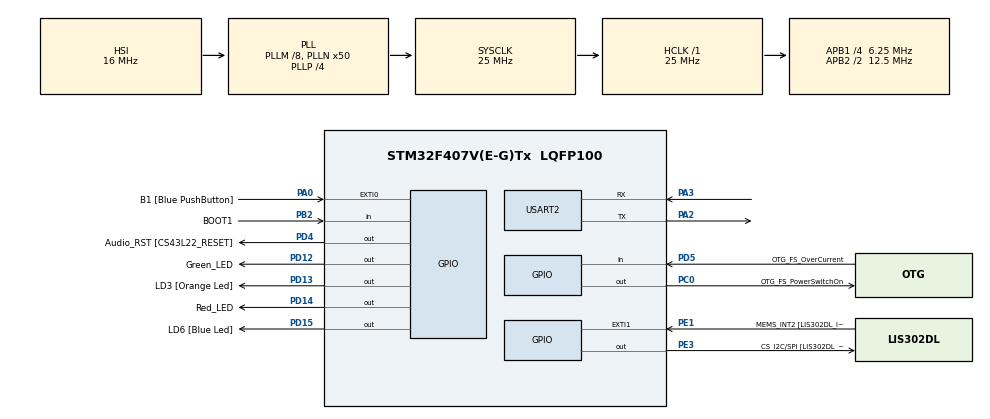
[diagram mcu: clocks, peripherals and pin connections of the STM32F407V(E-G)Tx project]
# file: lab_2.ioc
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Mcu.Family=STM32F4
Mcu.Name=STM32F407V(E-G)Tx
Mcu.Package=LQFP100
NVIC.PriorityGroup=NVIC_PRIORITYGROUP_4
NVIC.TIM7_IRQn=true\:15\:0\:false\:false\:true\:false\:true\:true
NVIC.TimeBase=TIM7_IRQn
NVIC.TimeBaseIP=TIM7
PA0-WKUP.GPIO_Label=B1 [Blue PushButton]
PA0-WKUP.Signal=GPXTI0
PA10.GPIO_Label=OTG_FS_ID
PA10.GPIO_Mode=GPIO_MODE_AF_PP
PA10.GPIO_PuPd=GPIO_NOPULL
PA10.GPIO_Speed=GPIO_SPEED_FREQ_LOW
PA10.Signal=USB_OTG_FS_ID
PA11.GPIO_Label=OTG_FS_DM
PA11.GPIO_Mode=GPIO_MODE_AF_PP
PA11.GPIO_PuPd=GPIO_NOPULL
PA11.GPIO_Speed=GPIO_SPEED_FREQ_LOW
PA11.Signal=USB_OTG_FS_DM
PA12.GPIO_Label=OTG_FS_DP
PA12.GPIO_Mode=GPIO_MODE_AF_PP
PA12.GPIO_PuPd=GPIO_NOPULL
PA12.GPIO_Speed=GPIO_SPEED_FREQ_LOW
PA12.Signal=USB_OTG_FS_DP
PA13.GPIO_Label=SWDIO
PA13.Mode=Serial_Wire
PA13.Signal=SYS_JTMS-SWDIO
PA14.GPIO_Label=SWCLK
PA14.Mode=Serial_Wire
PA14.Signal=SYS_JTCK-SWCLK
PA2.Mode=Asynchronous
PA2.Signal=USART2_TX
PA3.Mode=Asynchronous
PA3.Signal=USART2_RX
PA4.GPIO_Label=I2S3_WS [CS43L22_LRCK]
PA4.GPIO_Mode=GPIO_MODE_AF_PP
PA4.GPIO_PuPd=GPIO_NOPULL
PA4.GPIO_Speed=GPIO_SPEED_FREQ_LOW
PA4.Signal=I2S3_WS
PA5.GPIO_Label=SPI1_SCK [LIS302DL_SCL/SPC]
PA5.GPIO_Mode=GPIO_MODE_AF_PP
PA5.GPIO_PuPd=GPIO_NOPULL
PA5.GPIO_Speed=GPIO_SPEED_FREQ_LOW
PA5.Signal=SPI1_SCK
PA6.GPIO_Label=SPI1_MISO [LIS302DL_SDO]
PA6.GPIO_Mode=GPIO_MODE_AF_PP
PA6.GPIO_PuPd=GPIO_NOPULL
PA6.GPIO_Speed=GPIO_SPEED_FREQ_LOW
PA6.Signal=SPI1_MISO
PA7.GPIO_Label=SPI1_MOSI [LIS302DL_SDA/SDI/SDO]
PA7.GPIO_Mode=GPIO_MODE_AF_PP
PA7.GPIO_PuPd=GPIO_NOPULL
PA7.GPIO_Speed=GPIO_SPEED_FREQ_LOW
PA7.Signal=SPI1_MOSI
PA9.GPIO_Label=VBUS_FS
PA9.GPIO_Mode=GPIO_MODE_INPUT
PA9.GPIO_PuPd=GPIO_NOPULL
PA9.Signal=USB_OTG_FS_VBUS
PB10.GPIO_Label=CLK_IN [MP45DT02_CLK]
PB10.GPIO_Mode=GPIO_MODE_AF_PP
PB10.GPIO_PuPd=GPIO_NOPULL
PB10.GPIO_Speed=GPIO_SPEED_FREQ_LOW
PB10.Signal=I2S2_CK
PB2.GPIO_Label=BOOT1
PB2.GPIO_Mode=GPIO_MODE_INPUT
PB2.GPIO_PuPd=GPIO_NOPULL
PB2.Signal=GPIO_Input
PB3.GPIO_Label=SWO
PB3.Signal=SYS_JTDO-SWO
PB6.GPIO_Label=Audio_SCL [CS43L22_SCL]
PB6.GPIO_Mode=GPIO_MODE_AF_OD
PB6.GPIO_PuPd=GPIO_NOPULL
PB6.GPIO_Speed=GPIO_SPEED_FREQ_LOW
PB6.Signal=I2C1_SCL
PB9.GPIO_Label=Audio_SDA [CS43L22_SDA]
PB9.GPIO_Mode=GPIO_MODE_AF_OD
PB9.GPIO_PuPd=GPIO_NOPULL
PB9.GPIO_Speed=GPIO_SPEED_FREQ_LOW
PB9.Signal=I2C1_SDA
PC0.GPIO_Label=OTG_FS_PowerSwitchOn
PC0.GPIO_PuPd=GPIO_NOPULL
PC0.GPIO_Speed=GPIO_SPEED_FREQ_LOW
PC0.PinState=GPIO_PIN_SET
PC0.Signal=GPIO_Output
PC10.GPIO_Label=I2S3_SCK [CS43L22_SCLK]
PC10.GPIO_Mode=GPIO_MODE_AF_PP
PC10.GPIO_PuPd=GPIO_NOPULL
PC10.GPIO_Speed=GPIO_SPEED_FREQ_LOW
PC10.Signal=I2S3_CK
PC12.GPIO_Label=I2S3_SD [CS43L22_SDIN]
PC12.GPIO_Mode=GPIO_MODE_AF_PP
PC12.GPIO_PuPd=GPIO_NOPULL
PC12.GPIO_Speed=GPIO_SPEED_FREQ_LOW
PC12.Signal=I2S3_SD
PC14-OSC32_IN.GPIO_Label=PC14-OSC32_IN
PC14-OSC32_IN.Signal=RCC_OSC32_IN
PC15-OSC32_OUT.GPIO_Label=PC15-OSC32_OUT
PC15-OSC32_OUT.Signal=RCC_OSC32_OUT
PC3.GPIO_Label=PDM_OUT [MP45DT02_DOUT]
PC3.GPIO_Mode=GPIO_MODE_AF_PP
PC3.GPIO_PuPd=GPIO_NOPULL
PC3.GPIO_Speed=GPIO_SPEED_FREQ_LOW
PC3.Signal=I2S2_SD
PC7.GPIO_Label=I2S3_MCK [CS43L22_MCLK]
PC7.GPIO_Mode=GPIO_MODE_AF_PP
PC7.GPIO_PuPd=GPIO_NOPULL
PC7.GPIO_Speed=GPIO_SPEED_FREQ_LOW
PC7.Signal=I2S3_MCK
PD12.GPIO_Label=Green_LED
PD12.GPIO_PuPd=GPIO_NOPULL
PD12.GPIO_Speed=GPIO_SPEED_FREQ_LOW
PD12.Signal=GPIO_Output
PD13.GPIO_Label=LD3 [Orange Led]
PD13.GPIO_PuPd=GPIO_NOPULL
PD13.GPIO_Speed=GPIO_SPEED_FREQ_LOW
PD13.Signal=GPIO_Output
PD14.GPIO_Label=Red_LED
PD14.Signal=GPIO_Output
PD15.GPIO_Label=LD6 [Blue Led]
PD15.GPIO_PuPd=GPIO_NOPULL
PD15.GPIO_Speed=GPIO_SPEED_FREQ_LOW
PD15.Signal=GPIO_Output
PD4.GPIO_Label=Audio_RST [CS43L22_RESET]
PD4.GPIO_PuPd=GPIO_NOPULL
PD4.GPIO_Speed=GPIO_SPEED_FREQ_LOW
PD4.Signal=GPIO_Output
PD5.GPIO_Label=OTG_FS_OverCurrent
PD5.GPIO_Mode=GPIO_MODE_INPUT
PD5.GPIO_PuPd=GPIO_NOPULL
PD5.Signal=GPIO_Input
PE1.GPIO_Label=MEMS_INT2 [LIS302DL_INT2]
PE1.GPIO_ModeDefaultEXTI=GPIO_MODE_EVT_RISING
PE1.GPIO_PuPd=GPIO_NOPULL
PE1.Signal=GPXTI1
PE3.GPIO_Label=CS_I2C/SPI [LIS302DL_CS_I2C/SPI]
PE3.GPIO_PuPd=GPIO_NOPULL
PE3.GPIO_Speed=GPIO_SPEED_FREQ_LOW
PE3.Signal=GPIO_Output
PH0-OSC_IN.GPIO_Label=PH0-OSC_IN
PH0-OSC_IN.Signal=RCC_OSC_IN
PH1-OSC_OUT.GPIO_Label=PH1-OSC_OUT
PH1-OSC_OUT.Signal=RCC_OSC_OUT
ProjectManager.HeapSize=0x200
ProjectManager.StackSize=0x400
ProjectManager.TargetToolchain=STM32CubeIDE
RCC.48MHZClocksFreq_Value=14285714.285714285
RCC.AHBFreq_Value=25000000
RCC.APB1CLKDivider=RCC_HCLK_DIV4
RCC.APB1Freq_Value=6250000
RCC.APB1TimFreq_Value=12500000
RCC.APB2CLKDivider=RCC_HCLK_DIV2
RCC.APB2Freq_Value=12500000
RCC.APB2TimFreq_Value=25000000
RCC.CortexFreq_Value=25000000
RCC.HCLKFreq_Value=25000000
RCC.HSE_VALUE=8000000
RCC.HSI_VALUE=16000000
RCC.LSE_VALUE=32768
RCC.PLLM=8
RCC.PLLN=50
RCC.PLLP=RCC_PLLP_DIV4
RCC.PLLQ=7
RCC.SYSCLKFreq_VALUE=25000000
RCC.SYSCLKSource=RCC_SYSCLKSOURCE_PLLCLK
RCC.VCOOutputFreq_Value=100000000
USART2.VirtualMode=VM_ASYNC
VP_SYS_VS_tim7.Mode=TIM7
board=STM32F407G-DISC1

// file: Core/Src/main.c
/* USER CODE BEGIN Header */
/**
  ******************************************************************************
  * @file           : main.c
  * @brief          : Main program body
  ******************************************************************************
  * @attention
  *
  * Copyright (c) 2025 STMicroelectronics.
  * All rights reserved.
  *
  * This software is licensed under terms that can be found in the LICENSE file
  * in the root directory of this software component.
  * If no LICENSE file comes with this software, it is provided AS-IS.
  *
  ******************************************************************************
  */
/* USER CODE END Header */
#include "main.h"

/* USER CODE BEGIN PD */
UART_HandleTypeDef huart2;
/* USER CODE END PD */

UART_HandleTypeDef huart2;

void SystemClock_Config(void);
static void MX_GPIO_Init(void);
static void MX_USART2_UART_Init(void);

/* USER CODE BEGIN 0 */

void TaskMonitor_App(void *pvParameters) {
	for(;;) {
		Taskmonitor();
		vTaskDelay(1000);
	}
}

void Red_LED_App(void *pvParameters) {
	uint32_t Redtimer = 800;
	for(;;){
		HAL_GPIO_TogglePin(GPIOD, Red_LED_Pin);
		vTaskDelay(Redtimer);
		Redtimer+=1;
	}
}

void Green_LED_App(void *pvParameters) {
	uint32_t Greentimer = 1000;
	for(;;){
		HAL_GPIO_TogglePin(GPIOD, Green_LED_Pin);
		vTaskDelay(Greentimer);
		Greentimer+=1;
	}
}

void Delay_App(void *pvParameters){
	int delayflag=0;
	uint32_t delaytime;
	while(1) {
		if(delayflag==0){
			delaytime=1000;
			delayflag=1;
		} else {
			delaytime=0xFFFFFFFF;
		}
		vTaskDelay(delaytime);
	}
}

void USART_Test(void *pvParameters){
	uint32_t Monitortimer = 400;
	char MonitorTset[30];
	char num[15];
	int i = 0;
	while(1){
		memset(MonitorTset,'\0',sizeof(MonitorTset));
		memset(num,'\0',sizeof(num));
		itoa(i,num,10);
		strcat(num," ");
		sprintf(MonitorTset,"The point is %s\n\r",num);
		HAL_UART_Transmit(&huart2,(uint8_t *)MonitorTset,strlen(MonitorTset),0xffff);
		vTaskDelay(Monitortimer);
		Monitortimer += 1;
		i += 1;
	}
}

/* USER CODE END 0 */

int main(void)
{

  /* MCU Configuration--------------------------------------------------------*/

  /* Reset of all peripherals, Initializes the Flash interface and the Systick. */
  HAL_Init();

  /* Configure the system clock */
  SystemClock_Config();

  /* Initialize all configured peripherals */
  MX_GPIO_Init();
  MX_USART2_UART_Init();
  /* USER CODE BEGIN 2 */
  // xTaskCreate(USART_Test, "USART_Test", 256, NULL, 3, NULL);
  xTaskCreate(Red_LED_App, "Red_LED_App", 256, NULL, 1, NULL);
  xTaskCreate(Green_LED_App, "Green_LED_App", 256, NULL, 1, NULL);
  xTaskCreate(Delay_App, "Delay_App", 256, NULL, 14, NULL);
  xTaskCreate(TaskMonitor_App, "TaskMonitor_App", 500, NULL, 3, NULL);

  vTaskStartScheduler();
  /* USER CODE END 2 */

  /* Infinite loop */
  while (1)
  {

  }
}

void SystemClock_Config(void)
{
  RCC_OscInitTypeDef RCC_OscInitStruct = {0};
  RCC_ClkInitTypeDef RCC_ClkInitStruct = {0};

  /** Configure the main internal regulator output voltage
  */
  __HAL_RCC_PWR_CLK_ENABLE();
  __HAL_PWR_VOLTAGESCALING_CONFIG(PWR_REGULATOR_VOLTAGE_SCALE1);

  /** Initializes the RCC Oscillators according to the specified parameters
  * in the RCC_OscInitTypeDef structure.
  */
  RCC_OscInitStruct.OscillatorType = RCC_OSCILLATORTYPE_HSI;
  RCC_OscInitStruct.HSIState = RCC_HSI_ON;
  RCC_OscInitStruct.HSICalibrationValue = RCC_HSICALIBRATION_DEFAULT;
  RCC_OscInitStruct.PLL.PLLState = RCC_PLL_ON;
  RCC_OscInitStruct.PLL.PLLSource = RCC_PLLSOURCE_HSI;
  RCC_OscInitStruct.PLL.PLLM = 8;
  RCC_OscInitStruct.PLL.PLLN = 50;
  RCC_OscInitStruct.PLL.PLLP = RCC_PLLP_DIV4;
  RCC_OscInitStruct.PLL.PLLQ = 7;
  if (HAL_RCC_OscConfig(&RCC_OscInitStruct) != HAL_OK)
  {
    Error_Handler();
  }

  /** Initializes the CPU, AHB and APB buses clocks
  */
  RCC_ClkInitStruct.ClockType = RCC_CLOCKTYPE_HCLK|RCC_CLOCKTYPE_SYSCLK
                              |RCC_CLOCKTYPE_PCLK1|RCC_CLOCKTYPE_PCLK2;
  RCC_ClkInitStruct.SYSCLKSource = RCC_SYSCLKSOURCE_PLLCLK;
  RCC_ClkInitStruct.AHBCLKDivider = RCC_SYSCLK_DIV1;
  RCC_ClkInitStruct.APB1CLKDivider = RCC_HCLK_DIV4;
  RCC_ClkInitStruct.APB2CLKDivider = RCC_HCLK_DIV2;

  if (HAL_RCC_ClockConfig(&RCC_ClkInitStruct, FLASH_LATENCY_0) != HAL_OK)
  {
    Error_Handler();
  }
}

static void MX_USART2_UART_Init(void)
{

  huart2.Instance = USART2;
  huart2.Init.BaudRate = 115200;
  huart2.Init.WordLength = UART_WORDLENGTH_8B;
  huart2.Init.StopBits = UART_STOPBITS_1;
  huart2.Init.Parity = UART_PARITY_NONE;
  huart2.Init.Mode = UART_MODE_TX_RX;
  huart2.Init.HwFlowCtl = UART_HWCONTROL_NONE;
  huart2.Init.OverSampling = UART_OVERSAMPLING_16;
  if (HAL_UART_Init(&huart2) != HAL_OK)
  {
    Error_Handler();
  }

}

static void MX_GPIO_Init(void)
{
  GPIO_InitTypeDef GPIO_InitStruct = {0};

  /* GPIO Ports Clock Enable */
  __HAL_RCC_GPIOE_CLK_ENABLE();
  __HAL_RCC_GPIOC_CLK_ENABLE();
  __HAL_RCC_GPIOH_CLK_ENABLE();
  __HAL_RCC_GPIOA_CLK_ENABLE();
  __HAL_RCC_GPIOB_CLK_ENABLE();
  __HAL_RCC_GPIOD_CLK_ENABLE();

  /*Configure GPIO pin Output Level */
  HAL_GPIO_WritePin(CS_I2C_SPI_GPIO_Port, CS_I2C_SPI_Pin, GPIO_PIN_RESET);

  /*Configure GPIO pin Output Level */
  HAL_GPIO_WritePin(OTG_FS_PowerSwitchOn_GPIO_Port, OTG_FS_PowerSwitchOn_Pin, GPIO_PIN_SET);

  /*Configure GPIO pin Output Level */
  HAL_GPIO_WritePin(GPIOD, Green_LED_Pin|LD3_Pin|Red_LED_Pin|LD6_Pin
                          |Audio_RST_Pin, GPIO_PIN_RESET);

  /*Configure GPIO pin : CS_I2C_SPI_Pin */
  GPIO_InitStruct.Pin = CS_I2C_SPI_Pin;
  GPIO_InitStruct.Mode = GPIO_MODE_OUTPUT_PP;
  GPIO_InitStruct.Pull = GPIO_NOPULL;
  GPIO_InitStruct.Speed = GPIO_SPEED_FREQ_LOW;
  HAL_GPIO_Init(CS_I2C_SPI_GPIO_Port, &GPIO_InitStruct);

  /*Configure GPIO pin : OTG_FS_PowerSwitchOn_Pin */
  GPIO_InitStruct.Pin = OTG_FS_PowerSwitchOn_Pin;
  GPIO_InitStruct.Mode = GPIO_MODE_OUTPUT_PP;
  GPIO_InitStruct.Pull = GPIO_NOPULL;
  GPIO_InitStruct.Speed = GPIO_SPEED_FREQ_LOW;
  HAL_GPIO_Init(OTG_FS_PowerSwitchOn_GPIO_Port, &GPIO_InitStruct);

  /*Configure GPIO pin : PDM_OUT_Pin */
  GPIO_InitStruct.Pin = PDM_OUT_Pin;
  GPIO_InitStruct.Mode = GPIO_MODE_AF_PP;
  GPIO_InitStruct.Pull = GPIO_NOPULL;
  GPIO_InitStruct.Speed = GPIO_SPEED_FREQ_LOW;
  GPIO_InitStruct.Alternate = GPIO_AF5_SPI2;
  HAL_GPIO_Init(PDM_OUT_GPIO_Port, &GPIO_InitStruct);

  /*Configure GPIO pin : B1_Pin */
  GPIO_InitStruct.Pin = B1_Pin;
  GPIO_InitStruct.Mode = GPIO_MODE_IT_RISING;
  GPIO_InitStruct.Pull = GPIO_NOPULL;
  HAL_GPIO_Init(B1_GPIO_Port, &GPIO_InitStruct);

  /*Configure GPIO pin : I2S3_WS_Pin */
  GPIO_InitStruct.Pin = I2S3_WS_Pin;
  GPIO_InitStruct.Mode = GPIO_MODE_AF_PP;
  GPIO_InitStruct.Pull = GPIO_NOPULL;
  GPIO_InitStruct.Speed = GPIO_SPEED_FREQ_LOW;
  GPIO_InitStruct.Alternate = GPIO_AF6_SPI3;
  HAL_GPIO_Init(I2S3_WS_GPIO_Port, &GPIO_InitStruct);

  /*Configure GPIO pins : SPI1_SCK_Pin SPI1_MISO_Pin SPI1_MOSI_Pin */
  GPIO_InitStruct.Pin = SPI1_SCK_Pin|SPI1_MISO_Pin|SPI1_MOSI_Pin;
  GPIO_InitStruct.Mode = GPIO_MODE_AF_PP;
  GPIO_InitStruct.Pull = GPIO_NOPULL;
  GPIO_InitStruct.Speed = GPIO_SPEED_FREQ_LOW;
  GPIO_InitStruct.Alternate = GPIO_AF5_SPI1;
  HAL_GPIO_Init(GPIOA, &GPIO_InitStruct);

  /*Configure GPIO pin : BOOT1_Pin */
  GPIO_InitStruct.Pin = BOOT1_Pin;
  GPIO_InitStruct.Mode = GPIO_MODE_INPUT;
  GPIO_InitStruct.Pull = GPIO_NOPULL;
  HAL_GPIO_Init(BOOT1_GPIO_Port, &GPIO_InitStruct);

  /*Configure GPIO pin : CLK_IN_Pin */
  GPIO_InitStruct.Pin = CLK_IN_Pin;
  GPIO_InitStruct.Mode = GPIO_MODE_AF_PP;
  GPIO_InitStruct.Pull = GPIO_NOPULL;
  GPIO_InitStruct.Speed = GPIO_SPEED_FREQ_LOW;
  GPIO_InitStruct.Alternate = GPIO_AF5_SPI2;
  HAL_GPIO_Init(CLK_IN_GPIO_Port, &GPIO_InitStruct);

  /*Configure GPIO pins : Green_LED_Pin LD3_Pin Red_LED_Pin LD6_Pin
                           Audio_RST_Pin */
  GPIO_InitStruct.Pin = Green_LED_Pin|LD3_Pin|Red_LED_Pin|LD6_Pin
                          |Audio_RST_Pin;
  GPIO_InitStruct.Mode = GPIO_MODE_OUTPUT_PP;
  GPIO_InitStruct.Pull = GPIO_NOPULL;
  GPIO_InitStruct.Speed = GPIO_SPEED_FREQ_LOW;
  HAL_GPIO_Init(GPIOD, &GPIO_InitStruct);

  /*Configure GPIO pins : I2S3_MCK_Pin I2S3_SCK_Pin I2S3_SD_Pin */
  GPIO_InitStruct.Pin = I2S3_MCK_Pin|I2S3_SCK_Pin|I2S3_SD_Pin;
  GPIO_InitStruct.Mode = GPIO_MODE_AF_PP;
  GPIO_InitStruct.Pull = GPIO_NOPULL;
  GPIO_InitStruct.Speed = GPIO_SPEED_FREQ_LOW;
  GPIO_InitStruct.Alternate = GPIO_AF6_SPI3;
  HAL_GPIO_Init(GPIOC, &GPIO_InitStruct);

  /*Configure GPIO pin : VBUS_FS_Pin */
  GPIO_InitStruct.Pin = VBUS_FS_Pin;
  GPIO_InitStruct.Mode = GPIO_MODE_INPUT;
  GPIO_InitStruct.Pull = GPIO_NOPULL;
  HAL_GPIO_Init(VBUS_FS_GPIO_Port, &GPIO_InitStruct);

  /*Configure GPIO pins : OTG_FS_ID_Pin OTG_FS_DM_Pin OTG_FS_DP_Pin */
  GPIO_InitStruct.Pin = OTG_FS_ID_Pin|OTG_FS_DM_Pin|OTG_FS_DP_Pin;
  GPIO_InitStruct.Mode = GPIO_MODE_AF_PP;
  GPIO_InitStruct.Pull = GPIO_NOPULL;
  GPIO_InitStruct.Speed = GPIO_SPEED_FREQ_LOW;
  GPIO_InitStruct.Alternate = GPIO_AF10_OTG_FS;
  HAL_GPIO_Init(GPIOA, &GPIO_InitStruct);

  /*Configure GPIO pin : OTG_FS_OverCurrent_Pin */
  GPIO_InitStruct.Pin = OTG_FS_OverCurrent_Pin;
  GPIO_InitStruct.Mode = GPIO_MODE_INPUT;
  GPIO_InitStruct.Pull = GPIO_NOPULL;
  HAL_GPIO_Init(OTG_FS_OverCurrent_GPIO_Port, &GPIO_InitStruct);

  /*Configure GPIO pins : Audio_SCL_Pin Audio_SDA_Pin */
  GPIO_InitStruct.Pin = Audio_SCL_Pin|Audio_SDA_Pin;
  GPIO_InitStruct.Mode = GPIO_MODE_AF_OD;
  GPIO_InitStruct.Pull = GPIO_NOPULL;
  GPIO_InitStruct.Speed = GPIO_SPEED_FREQ_LOW;
  GPIO_InitStruct.Alternate = GPIO_AF4_I2C1;
  HAL_GPIO_Init(GPIOB, &GPIO_InitStruct);

  /*Configure GPIO pin : MEMS_INT2_Pin */
  GPIO_InitStruct.Pin = MEMS_INT2_Pin;
  GPIO_InitStruct.Mode = GPIO_MODE_EVT_RISING;
  GPIO_InitStruct.Pull = GPIO_NOPULL;
  HAL_GPIO_Init(MEMS_INT2_GPIO_Port, &GPIO_InitStruct);

}

void HAL_TIM_PeriodElapsedCallback(TIM_HandleTypeDef *htim)
{
  if (htim->Instance == TIM7) {
    HAL_IncTick();
  }
}

void Error_Handler(void)
{
  __disable_irq();
  while (1)
  {
  }
}
